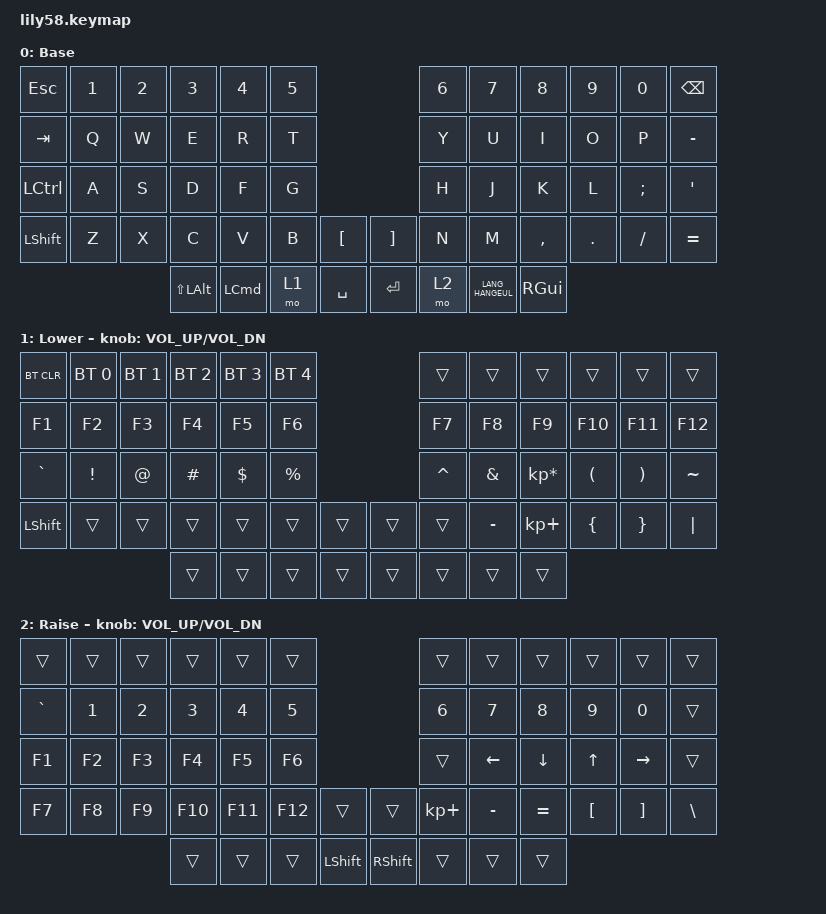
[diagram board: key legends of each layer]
/*
 * Copyright (c) 2020 The ZMK Contributors
 *
 * SPDX-License-Identifier: MIT
 */

#include <behaviors.dtsi>
#include <dt-bindings/zmk/keys.h>
#include <dt-bindings/zmk/bt.h>
#include <dt-bindings/zmk/ext_power.h>

/ {
    keymap {
        compatible = "zmk,keymap";

        default_layer {
            // ------------------------------------------------------------------------------------------------------------
            // |  ESC  |  1  |  2  |  3   |  4   |  5   |                   |  6   |  7    |  8    |  9   |   0   |   `   |
            // |  TAB  |  Q  |  W  |  E   |  R   |  T   |                   |  Y   |  U    |  I    |  O   |   P   |   -   |
            // |  CTRL |  A  |  S  |  D   |  F   |  G   |                   |  H   |  J    |  K    |  L   |   ;   |   '   |
            // | SHIFT |  Z  |  X  |  C   |  V   |  B   |   "["  |  |  "]"  |  N   |  M    |  ,    |  .   |   /   | SHIFT |
            //                     | ALT  | GUI  | LOWER|  SPACE |  | ENTER | RAISE| BSPC  | GUI   |

            display-name = "Base";
            bindings = <
&kp ESC           &kp N1  &kp N2  &kp N3            &kp N4            &kp N5                                         &kp N6  &kp N7            &kp N8         &kp N9   &kp N0    &kp BACKSPACE
&kp TAB           &kp Q   &kp W   &kp E             &kp R             &kp T                                          &kp Y   &kp U             &kp I          &kp O    &kp P     &kp MINUS
&kp LEFT_CONTROL  &kp A   &kp S   &kp D             &kp F             &kp G                                          &kp H   &kp J             &kp K          &kp L    &kp SEMI  &kp SQT
&kp LEFT_SHIFT    &kp Z   &kp X   &kp C             &kp V             &kp B   &kp LEFT_BRACKET    &kp RIGHT_BRACKET  &kp N   &kp M             &kp COMMA      &kp DOT  &kp FSLH  &kp EQUAL
                                  &kp LS(LEFT_ALT)  &kp LEFT_COMMAND  &mo 1   &kp SPACE           &kp RET            &mo 2   &kp LANG_HANGEUL  &kp RIGHT_GUI
            >;
        };

        lower_layer {
            // ------------------------------------------------------------------------------------------------------------
            // | BTCLR | BT1 | BT2 |  BT3 |  BT4 |  BT5 |                   |      |       |       |      |       |       |
            // |  F1   |  F2 |  F3 |  F4  |  F5  |  F6  |                   |  F7  |  F8   |  F9   |  F10 |  F11  |  F12  |
            // |   `   |  !  |  @  |  #   |  $   |  %   |                   |  ^   |  &    |  *    |  (   |   )   |   ~   |
            // |       |     |     |      |      |      |        |  |       |      |  _    |  +    |  {   |   }   |  "|"  |
            //                     |      |      |      |        |  |       |      |       |       |

            display-name = "Lower";
            bindings = <
&bt BT_CLR      &bt BT_SEL 0  &bt BT_SEL 1  &bt BT_SEL 2  &bt BT_SEL 3  &bt BT_SEL 4                    &trans     &trans     &trans           &trans    &trans    &trans
&kp F1          &kp F2        &kp F3        &kp F4        &kp F5        &kp F6                          &kp F7     &kp F8     &kp F9           &kp F10   &kp F11   &kp F12
&kp GRAVE       &kp EXCL      &kp AT        &kp HASH      &kp DOLLAR    &kp PRCNT                       &kp CARET  &kp AMPS   &kp KP_MULTIPLY  &kp LPAR  &kp RPAR  &kp TILDE
&kp LEFT_SHIFT  &trans        &trans        &trans        &trans        &trans        &trans    &trans  &trans     &kp MINUS  &kp KP_PLUS      &kp LBRC  &kp RBRC  &kp PIPE
                                            &trans        &trans        &trans        &trans    &trans  &trans     &trans     &trans
            >;

            sensor-bindings = <&inc_dec_kp C_VOL_UP C_VOL_DN>;
        };

        raise_layer {
            // ------------------------------------------------------------------------------------------------------------
            // |       |     |     |      |      |      |                   |      |       |       |      |       |       |
            // |   `   |  1  |  2  |  3   |  4   |  5   |                   |  6   |   7   |   8   |  9   |   0   |       |
            // |   F1  |  F2 |  F3 |  F4  |  F5  |  F6  |                   |      |   <-  |   v   |  ^   |  ->   |       |
            // |   F7  |  F8 |  F9 |  F10 |  F11 |  F12 |        |  |       |  +   |   -   |   =   |  [   |   ]   |   \   |
            //                     |      |      |      |        |  |       |      |       |       |

            display-name = "Raise";
            bindings = <
&trans     &trans  &trans  &trans   &trans   &trans                                      &trans       &trans     &trans     &trans    &trans     &trans
&kp GRAVE  &kp N1  &kp N2  &kp N3   &kp N4   &kp N5                                      &kp N6       &kp N7     &kp N8     &kp N9    &kp N0     &trans
&kp F1     &kp F2  &kp F3  &kp F4   &kp F5   &kp F6                                      &trans       &kp LEFT   &kp DOWN   &kp UP    &kp RIGHT  &trans
&kp F7     &kp F8  &kp F9  &kp F10  &kp F11  &kp F12  &trans            &trans           &kp KP_PLUS  &kp MINUS  &kp EQUAL  &kp LBKT  &kp RBKT   &kp BSLH
                           &trans   &trans   &trans   &kp LEFT_SHIFT    &kp RIGHT_SHIFT  &trans       &trans     &trans
            >;

            sensor-bindings = <&inc_dec_kp C_VOL_UP C_VOL_DN>;
        };
    };
};

